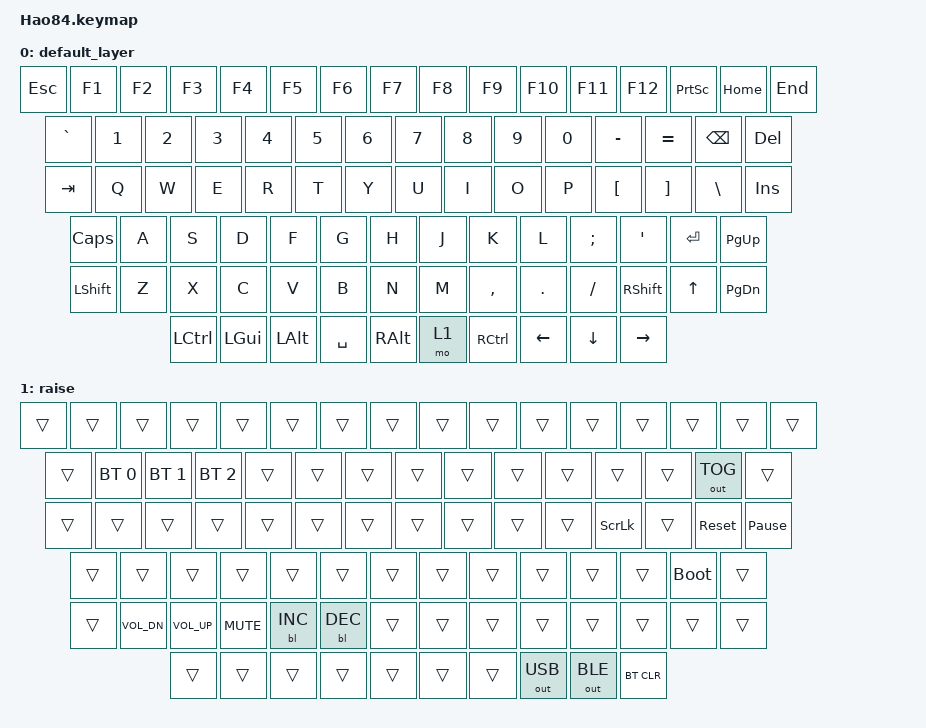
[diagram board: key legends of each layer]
#include <behaviors.dtsi>
#include <dt-bindings/zmk/keys.h>
#include <dt-bindings/zmk/bt.h>
#include <dt-bindings/zmk/rgb.h>
#include <dt-bindings/zmk/backlight.h>
#include <dt-bindings/zmk/outputs.h>

/ {
    keymap {
        compatible = "zmk,keymap";
        default_layer {
            // ------------------------------------------------------------------------------------------------
            // | ESC | F1  | F2  | F3  | F4  | F5  | F6  | F7  | F9  | F9  | F10 | F11 | F12 |PSCRN|HOME| END |
            // |GRAVE|  1  |  2  |  3  |  4  |  5  |  6  |  7  |  8  |  9  |  0  |  -  |  =  |   BKSP   | DEL |
            // | TAB   |  Q  |  W  |  E  |  R  |  T  |  Y  |  U  |  I  |  O  |  P  |  [  |  ]  |   \    | INS |
            // | CAPS   |  A  |  S  |  D  |  F  |  G  |  H  |  J  |  K  |  L  |  ;  |  '  |    ENTER    | PGUP|
            // |  SHIFT   |  Z  |  X  |  C  |  V  |  B  |  N  |  M  |  ,  |  .  |  /  |   SHIFT   | UP  | PGDN|
            // |  CTL  |  WIN  |  ALT  |             SPACE                | ALT |  1  |RCTRL| LEFT| DOWN|RIGHT|
            // ------------------------------------------------------------------------------------------------
            bindings = <
            &kp ESC &kp F1 &kp F2 &kp F3 &kp F4 &kp F5 &kp F6 &kp F7 &kp  F8   &kp  F9 &kp  F10  &kp F11 &kp F12   &kp PSCRN &kp HOME &kp END
            &kp GRAVE &kp N1 &kp N2 &kp N3 &kp N4 &kp N5 &kp N6 &kp N7 &kp  N8   &kp  N9   &kp N0 &kp MINUS &kp EQUAL &kp BKSP &kp DEL
            &kp TAB   &kp Q  &kp W  &kp E  &kp R  &kp T  &kp Y  &kp U  &kp  I    &kp  O  &kp  P   &kp LBKT &kp RBKT &kp BSLH &kp INS
            &kp CLCK   &kp A  &kp S  &kp D  &kp F  &kp G  &kp H  &kp J  &kp  K    &kp  L  &kp SEMI &kp SQT         &kp RET &kp PG_UP
            &kp LSHFT     &kp Z  &kp X  &kp C  &kp V  &kp B  &kp N  &kp M  &kp COMMA &kp DOT &kp FSLH   &kp RSHFT   &kp UP &kp PG_DN
            &kp LCTRL &kp LGUI &kp LALT            &kp SPACE                   &kp RALT  &mo 1 &kp RCTRL &kp LEFT &kp DOWN &kp RIGHT
            >;
        };

        raise {
            // --------------------------------------------------------------------------------------------------
            // | ESC | F1  | F2  | F3  | F4  | F5  | F6  | F7  | F9  | F9  | F10 | F11 | F12 |PSCRN| HOME| END |
            // |GRAVE|BT_SEL0|BT_SEL1|BT_SEL2|  4  |  5  |  6  |  7  |  8  |  9  |  0  |  -  |  =  |  BL_TOG  |RGB_TOG|
            // | TAB  |  Q  |  W  |  E  | HUI | HUD |  Y  |  U  |  I  |  O  |  P  | SLCK|  ]  |  RESET   | P_BRK|
            // | CAPS  |  A  |  S  |  D  | BRI | BRD |  H  |  J  |  K  |  L  |  ;  |  '  |     BOOT      | PG_UP|
            // |  SHIFT   |VOLDN|VOLUP| MUTE|BLINC|BLDEC|  N  |  M  |  ,  |  .  |  /  |    SHIFT  | UP   | PG_DN|
            // | BT_PRV| BT_NXT|  ALT  |            SPACE               | ALT |  1  | CTRL | LEFT | DOWN |BT_CLR|
            // --------------------------------------------------------------------------------------------------
            bindings = <
            &trans &trans &trans &trans &trans &trans &trans &trans &trans &trans &trans &trans &trans &trans &trans &trans
            &trans &bt BT_SEL 0 &bt BT_SEL 1 &bt BT_SEL 2 &trans &trans &trans &trans &trans &trans &trans &trans &trans &out OUT_TOG &trans
            &trans &trans &trans &trans &trans &trans &trans &trans &trans &trans &trans &kp SLCK &trans &sys_reset &kp PAUSE_BREAK
            &trans    &trans &trans &trans &trans &trans &trans &trans &trans &trans &trans  &trans   &bootloader &trans
            &trans &kp C_VOL_DN &kp C_VOL_UP &kp C_MUTE &bl BL_INC &bl BL_DEC &trans &trans &trans &trans &trans  &trans &trans &trans
            &trans &trans   &trans              &trans                            &trans   &trans   &trans &out OUT_USB &out OUT_BLE &bt BT_CLR
            >;
        };
    };
};
